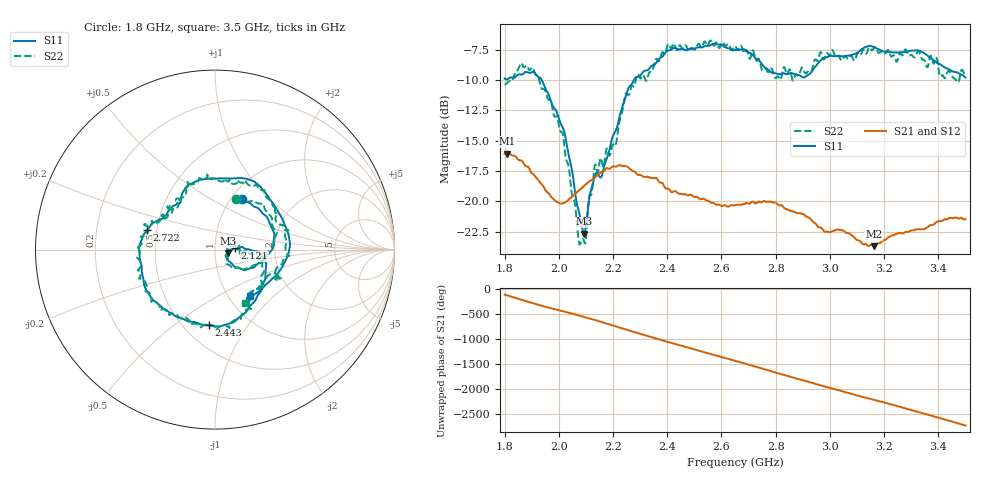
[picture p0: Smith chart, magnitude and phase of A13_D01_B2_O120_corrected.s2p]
! Created with skrf 1.9.0 (http://scikit-rf.org).
# Hz S RI R 50.0
!freq ReS11 ImS11 ReS21 ImS21 ReS12 ImS12 ReS22 ImS22
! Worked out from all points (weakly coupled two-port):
!   1601 points, 1.8 GHz to 3.5 GHz, reference 50 ohm
!   highest |S21| = -16.06 dB at 1.81 GHz (marker M1); lowest = -23.7 dB at 3.162 GHz (marker M2)
!   lowest |S11| = -22.7 dB at 2.093 GHz (marker M3), VSWR 1.16, Z = 57.5 - j2.43 ohm
!   |S11| at or under -10 dB: 1.937 GHz to 2.278 GHz (340.8 MHz wide, 16.2 % of centre)
!   |S22| runs from -23.5 to -6.7 dB; largest |S21 - S12| = 0.003
!   S11 on the Smith chart (normalised r, x): 1.8 GHz: 1.12, +0.71; 2.121 GHz: 1.25, +0.02; 2.443 GHz: 0.66, -0.67; 2.722 GHz: 0.44, +0.11; 3.5 GHz: 1.25, -0.72
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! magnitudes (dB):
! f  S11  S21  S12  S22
! 1.8 GHz  -9.9  -16.1  -16.1  -10.3
! 1.81 GHz  -9.9  -16.1  -16.1  -10.2
! 1.901 GHz  -9.4  -17.7  -17.6  -8.9
! 1.968 GHz  -11.5  -19.5  -19.5  -11.7
! 2.021 GHz  -14.4  -20.1  -20.1  -15.6
! 2.084 GHz  -21.9  -18.9  -18.9  -23.2
! 2.093 GHz  -22.7  -18.7  -18.8  -23.3
! 2.121 GHz  -18.9  -18.2  -18.2  -19.4
! 2.135 GHz  -17.8  -18.0  -18.0  -17.0
! 2.159 GHz  -17.9  -17.6  -17.5  -16.7
! 2.209 GHz  -14.2  -17.1  -17.1  -15.4
! 2.258 GHz  -10.6  -17.2  -17.2  -11.2
! 2.367 GHz  -8.3  -18.3  -18.3  -8.5
! 2.443 GHz  -7.5  -19.4  -19.4  -7.2
! 2.65 GHz  -7.5  -20.3  -20.3  -7.2
! 2.722 GHz  -8.1  -20.1  -20.1  -8.0
! 2.81 GHz  -9.5  -20.3  -20.2  -9.7
! 2.934 GHz  -9.3  -21.6  -21.6  -9.2
! 3.162 GHz  -7.3  -23.7  -23.6  -7.4
! 3.217 GHz  -7.7  -22.9  -22.9  -7.6
! 3.329 GHz  -7.6  -22.3  -22.3  -7.7
! 3.5 GHz  -9.8  -21.5  -21.5  -9.3
